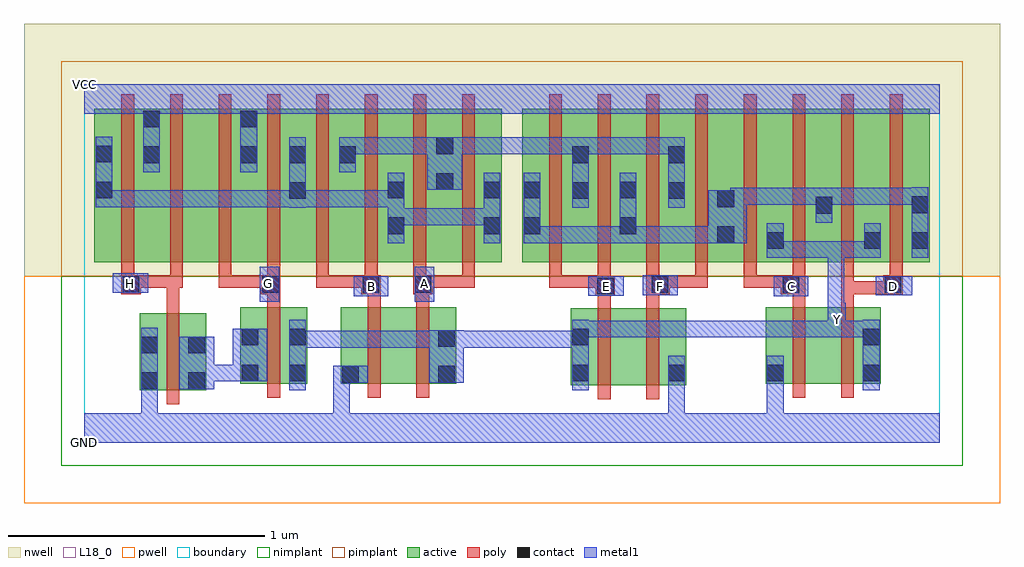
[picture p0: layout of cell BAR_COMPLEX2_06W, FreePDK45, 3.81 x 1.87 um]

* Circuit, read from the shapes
.subckt BAR_COMPLEX2_06W A B C D E F G GND H VCC Y
M1 n1 H GND VSUBS nfet w=0.3u l=0.05u
M2 Y G n1 VSUBS nfet w=0.3u l=0.05u
M3 n2 B GND VSUBS nfet w=0.3u l=0.05u
M4 Y A n2 VSUBS nfet w=0.3u l=0.05u
M5 n3 E Y VSUBS nfet w=0.3u l=0.05u
M6 GND F n3 VSUBS nfet w=0.3u l=0.05u
M7 n4 C GND VSUBS nfet w=0.3u l=0.05u
M8 Y D n4 VSUBS nfet w=0.3u l=0.05u
M9 VCC H n5 n6 pfet w=0.6u l=0.05u
M10 n7 H VCC n6 pfet w=0.6u l=0.05u
M11 VCC G n7 n6 pfet w=0.6u l=0.05u
M12 n5 G VCC n6 pfet w=0.6u l=0.05u
M13 n8 B n5 n6 pfet w=0.6u l=0.05u m=2
M14 n8 A n5 n6 pfet w=0.6u l=0.05u m=2
M15 n8 E n9 n6 pfet w=0.6u l=0.05u m=2
M16 n8 F n9 n6 pfet w=0.6u l=0.05u m=2
M17 Y C n9 n6 pfet w=0.6u l=0.05u m=2
M18 Y D n9 n6 pfet w=0.6u l=0.05u m=2
.ends

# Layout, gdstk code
import gdstk
lib = gdstk.Library(unit=1e-6, precision=1e-09)
def R(c, l, rs):  # rectangles x0, y0, x1, y1
    for r in rs: c.add(gdstk.rectangle(r[:2], r[2:], *l))
def A(c, l, x, y, w, h, nx, ny, dx, dy):  # array of equal rectangles
    R(c, l, [(x+i*dx, y+j*dy, x+i*dx+w, y+j*dy+h) for i in range(nx) for j in range(ny)])
active = (1, 0)
pwell = (2, 0)
nwell = (3, 0)
nimplant = (4, 0)
pimplant = (5, 0)
poly = (9, 0)
contact = (10, 0)
metal1 = (11, 0)
L18_0 = (18, 0)
boundary = (235, 0)

bar_complex2_06w = lib.new_cell('BAR_COMPLEX2_06W')
R(bar_complex2_06w, active, [(0.217,0.205,0.292,0.505), (0.217,0.205,0.477,0.505), (0.402,0.205,0.477,0.505), (1.9,0.225,2.125,0.525), (2.125,0.225,2.35,0.525), (0.61,0.23,0.87,0.53), (1.002,0.23,1.077,0.53), (1.002,0.23,1.227,0.53), (1.227,0.23,1.452,0.53), (1.377,0.23,1.452,0.53), (1.9,0.23,1.975,0.525), (2.275,0.23,2.35,0.525), (2.66,0.23,2.735,0.53), (2.66,0.23,2.885,0.53), (2.885,0.23,3.11,0.53), (3.035,0.23,3.11,0.53), (0.61,0.232,0.685,0.53), (0.795,0.232,0.87,0.53), (0.04,0.705,0.115,1.2), (0.04,0.705,0.3,1.305), (0.225,0.705,0.455,1.305), (0.455,0.705,0.68,1.305), (0.605,0.705,0.87,1.305), (0.795,0.705,1.065,1.305), (0.99,0.705,1.255,1.305), (1.18,0.705,1.445,1.305), (1.37,0.705,1.63,1.305), (1.555,0.705,1.63,1.07), (1.71,0.705,1.785,1.07), (1.71,0.705,1.975,1.305), (1.9,0.705,1.975,1.2), (1.9,0.705,2.16,1.305), (2.085,0.705,2.16,1.07), (2.085,0.705,2.35,1.305), (2.275,0.705,2.35,1.2), (2.275,0.705,2.542,1.305), (2.467,0.705,2.542,1.2), (2.467,0.705,2.735,1.305), (2.66,0.705,2.735,1.07), (2.66,0.705,2.925,1.305), (2.85,0.705,2.925,1.2), (2.85,0.705,3.115,1.305), (3.04,0.705,3.3,1.305), (3.04,0.705,3.115,1.07), (3.225,0.705,3.3,1.2), (0.225,0.707,0.3,1.305), (0.605,0.707,0.68,1.305), (0.795,0.707,0.87,1.2), (0.99,0.707,1.065,1.2), (1.18,0.707,1.255,1.07), (1.37,0.707,1.445,1.2)])
R(bar_complex2_06w, pwell, [(-0.235,-0.235,3.575,0.65)])
R(bar_complex2_06w, nwell, [(-0.235,0.65,3.575,1.635)])
R(bar_complex2_06w, nimplant, [(-0.09,-0.09,3.43,0.65)])
R(bar_complex2_06w, pimplant, [(-0.09,0.65,3.43,1.49)])
A(bar_complex2_06w, poly, 0.145, 0.605, 0.05, 0.095, 8, 1, 0.19, 0)
A(bar_complex2_06w, poly, 2.195, 0.605, 0.05, 0.095, 4, 1, 0.19, 0)
A(bar_complex2_06w, poly, 0.145, 0.65, 0.05, 0.71, 8, 1, 0.19, 0)
A(bar_complex2_06w, poly, 1.815, 0.65, 0.05, 0.71, 8, 1, 0.19, 0)
R(bar_complex2_06w, poly, [(0.322,0.15,0.372,0.582), (2.005,0.17,2.055,0.582), (2.195,0.17,2.245,0.582), (0.715,0.175,0.765,0.585), (1.107,0.175,1.157,0.585), (1.297,0.175,1.347,0.585), (2.765,0.175,2.815,0.585), (2.955,0.175,3.005,0.585), (0.322,0.532,0.372,0.655), (2.005,0.532,2.055,0.625), (2.195,0.532,2.245,0.63), (0.715,0.535,0.765,0.63), (1.107,0.535,1.157,0.63), (1.297,0.535,1.347,0.63), (2.765,0.535,2.815,0.63), (2.955,0.535,3.005,0.63), (1.997,0.575,2.072,0.65), (0.145,0.58,0.22,0.655), (0.69,0.58,0.765,0.655), (1.082,0.58,1.157,0.655), (1.285,0.58,1.36,0.655), (2.195,0.58,2.285,0.655), (2.72,0.58,2.815,0.655), (2.955,0.58,3.17,0.63), (2.955,0.58,3.005,0.63), (2.955,0.58,3.005,0.63), (2.955,0.58,3.005,0.63), (2.955,0.58,3.005,0.7), (3.12,0.58,3.195,0.655), (1.997,0.6,2.047,0.65), (1.997,0.6,2.047,0.655), (2.005,0.6,2.055,0.7), (0.17,0.605,0.372,0.655), (0.322,0.605,0.372,0.655), (0.322,0.605,0.372,0.655), (0.322,0.605,0.385,0.655), (0.525,0.605,0.74,0.655), (0.525,0.605,0.575,0.655), (0.525,0.605,0.575,0.655), (0.525,0.605,0.575,0.655), (0.905,0.605,0.955,0.655), (0.905,0.605,1.132,0.655), (1.082,0.605,1.132,0.655), (1.082,0.605,1.132,0.655), (1.31,0.605,1.525,0.655), (1.31,0.605,1.36,0.655), (1.31,0.605,1.36,0.655), (1.475,0.605,1.525,0.655), (1.815,0.605,1.865,0.7), (1.815,0.605,1.865,0.655), (1.815,0.605,2.047,0.655), (2.235,0.605,2.285,0.655), (2.235,0.605,2.285,0.655), (2.235,0.605,2.435,0.655), (2.385,0.605,2.435,0.655), (2.575,0.605,2.625,0.655), (2.575,0.605,2.77,0.655), (2.72,0.605,2.77,0.655), (2.72,0.605,2.77,0.655), (3.145,0.605,3.195,0.7)])
R(bar_complex2_06w, contact, [(0.222,0.21,0.287,0.275), (0.407,0.21,0.472,0.275), (1.007,0.235,1.072,0.3), (1.382,0.235,1.447,0.3), (0.615,0.24,0.68,0.305), (0.8,0.24,0.865,0.305), (1.905,0.24,1.97,0.305), (2.28,0.24,2.345,0.305), (2.665,0.24,2.73,0.305), (3.04,0.24,3.105,0.305), (0.222,0.35,0.287,0.415), (0.407,0.35,0.472,0.415), (1.382,0.375,1.447,0.44), (0.615,0.38,0.68,0.445), (0.8,0.38,0.865,0.445), (1.905,0.38,1.97,0.445), (3.04,0.38,3.105,0.445), (2.002,0.58,2.067,0.645), (0.15,0.585,0.215,0.65), (0.695,0.585,0.76,0.65), (1.087,0.585,1.152,0.65), (1.29,0.585,1.355,0.65), (2.215,0.585,2.28,0.65), (2.727,0.585,2.792,0.65), (3.125,0.585,3.19,0.65), (2.665,0.757,2.73,0.822), (3.045,0.757,3.11,0.822), (3.23,0.757,3.295,0.822), (2.472,0.78,2.537,0.845), (1.185,0.815,1.25,0.88), (1.56,0.815,1.625,0.88), (1.715,0.815,1.78,0.88), (2.09,0.815,2.155,0.88), (2.855,0.895,2.92,0.96), (3.23,0.897,3.295,0.962), (2.472,0.92,2.537,0.985), (0.8,0.952,0.865,1.017), (1.905,0.952,1.97,1.017), (2.28,0.952,2.345,1.017), (0.045,0.955,0.11,1.02), (1.185,0.955,1.25,1.02), (1.56,0.955,1.625,1.02), (1.715,0.955,1.78,1.02), (2.09,0.955,2.155,1.02), (1.375,0.987,1.44,1.052), (0.23,1.092,0.295,1.157), (0.61,1.092,0.675,1.157), (0.8,1.092,0.865,1.157), (0.995,1.092,1.06,1.157), (1.905,1.092,1.97,1.157), (2.28,1.092,2.345,1.157), (0.045,1.095,0.11,1.16), (1.375,1.127,1.44,1.192), (0.23,1.232,0.295,1.297), (0.61,1.232,0.675,1.297)])
R(bar_complex2_06w, metal1, [(0,0,3.34,0.115), (0.222,0.05,0.287,0.115), (0.222,0.05,0.287,0.115), (0.222,0.05,0.287,0.115), (0.222,0.05,0.287,0.115), (0.222,0.05,0.287,0.24), (0.972,0.05,1.037,0.3), (2.28,0.05,2.345,0.115), (2.28,0.05,2.345,0.115), (2.28,0.05,2.345,0.27), (2.665,0.05,2.73,0.115), (2.665,0.05,2.73,0.115), (2.665,0.05,2.73,0.27), (0.222,0.175,0.287,0.45), (0.8,0.205,0.865,0.48), (1.905,0.205,1.97,0.48), (2.28,0.205,2.345,0.27), (2.28,0.205,2.345,0.27), (2.28,0.205,2.345,0.34), (2.665,0.205,2.73,0.27), (2.665,0.205,2.73,0.27), (2.665,0.205,2.73,0.34), (3.04,0.205,3.105,0.48), (0.372,0.21,0.507,0.415), (0.972,0.235,1.037,0.3), (0.972,0.235,1.037,0.3), (0.972,0.235,1.037,0.3), (0.972,0.235,1.037,0.3), (0.972,0.235,1.107,0.3), (1.347,0.235,1.482,0.44), (0.442,0.24,0.507,0.305), (0.442,0.24,0.507,0.305), (0.442,0.24,0.645,0.305), (0.58,0.24,0.715,0.445), (0.8,0.372,0.865,0.437), (0.8,0.372,0.865,0.437), (0.8,0.372,1.042,0.437), (0.977,0.372,1.042,0.437), (0.977,0.372,1.042,0.437), (0.977,0.372,1.042,0.437), (0.977,0.372,1.267,0.437), (1.202,0.372,1.267,0.437), (1.202,0.372,1.267,0.437), (1.202,0.372,1.267,0.437), (1.202,0.372,1.412,0.437), (1.417,0.372,1.482,0.437), (1.417,0.372,1.482,0.437), (1.417,0.372,1.62,0.437), (1.555,0.372,1.62,0.437), (1.555,0.372,1.757,0.437), (1.692,0.372,1.757,0.437), (1.692,0.372,1.762,0.437), (1.697,0.372,1.762,0.437), (1.697,0.372,1.97,0.437), (1.905,0.412,2.032,0.477), (1.967,0.412,2.032,0.477), (1.967,0.412,2.107,0.477), (2.042,0.412,2.107,0.477), (2.042,0.412,2.207,0.477), (2.142,0.412,2.207,0.477), (2.142,0.412,2.335,0.477), (2.27,0.412,2.335,0.477), (2.27,0.412,2.45,0.477), (2.385,0.412,2.45,0.477), (2.385,0.412,2.587,0.477), (2.522,0.412,2.587,0.477), (2.522,0.412,2.587,0.477), (2.522,0.412,2.587,0.477), (2.522,0.412,2.73,0.477), (2.665,0.412,2.73,0.477), (2.665,0.412,2.73,0.477), (2.665,0.412,2.73,0.477), (2.665,0.412,2.967,0.477), (2.902,0.412,2.967,0.477), (2.902,0.412,2.967,0.477), (2.902,0.412,2.967,0.477), (2.902,0.412,2.967,0.477), (2.902,0.412,3.105,0.477), (2.902,0.412,2.972,0.547), (2.902,0.482,2.967,0.787), (0.685,0.55,0.762,0.687), (1.29,0.55,1.367,0.687), (1.052,0.572,1.187,0.65), (2.692,0.572,2.827,0.65), (1.967,0.575,2.107,0.65), (2.18,0.577,2.317,0.655), (3.09,0.577,3.232,0.65), (0.112,0.585,0.25,0.662), (2.665,0.722,2.73,0.787), (2.665,0.722,2.73,0.787), (2.665,0.722,2.73,0.857), (2.665,0.722,2.967,0.787), (2.902,0.722,2.967,0.787), (2.902,0.722,2.967,0.787), (2.902,0.722,2.967,0.787), (2.902,0.722,3.11,0.787), (3.045,0.722,3.11,0.857), (3.23,0.722,3.295,0.997), (1.185,0.78,1.25,1.055), (1.56,0.78,1.625,1.055), (1.715,0.78,1.78,0.845), (1.715,0.78,1.78,0.845), (1.715,0.78,1.78,1.055), (1.715,0.78,1.97,0.845), (1.905,0.78,1.97,0.845), (1.905,0.78,2.032,0.845), (1.967,0.78,2.032,0.845), (1.967,0.78,2.155,0.845), (2.09,0.78,2.155,1.055), (2.09,0.78,2.312,0.845), (2.247,0.78,2.312,0.845), (2.247,0.78,2.312,0.845), (2.247,0.78,2.312,0.845), (2.247,0.78,2.45,0.845), (2.385,0.78,2.45,0.845), (2.385,0.78,2.502,0.845), (2.437,0.78,2.587,0.985), (1.185,0.85,1.25,0.915), (1.185,0.85,1.25,0.915), (1.185,0.85,1.482,0.915), (1.417,0.85,1.482,0.915), (1.417,0.85,1.482,0.915), (1.417,0.85,1.482,0.915), (1.417,0.85,1.625,0.915), (2.855,0.86,2.92,0.995), (0.8,0.917,0.865,1.192), (1.905,0.917,1.97,1.192), (2.28,0.917,2.345,1.192), (0.045,0.92,0.11,0.985), (0.045,0.92,0.11,0.985), (0.045,0.92,0.11,1.195), (0.045,0.92,0.247,0.985), (0.182,0.92,0.247,0.985), (0.182,0.92,0.25,0.985), (0.185,0.92,0.25,0.985), (0.185,0.92,0.387,0.985), (0.322,0.92,0.387,0.985), (0.322,0.92,0.387,0.985), (0.322,0.92,0.387,0.985), (0.322,0.92,0.692,0.985), (0.627,0.92,0.692,0.985), (0.627,0.92,0.692,0.985), (0.627,0.92,0.692,0.985), (0.627,0.92,0.865,0.985), (0.8,0.92,0.905,0.985), (0.84,0.92,0.905,0.985), (0.84,0.92,1.112,0.985), (1.047,0.92,1.112,0.985), (1.047,0.92,1.112,0.985), (1.047,0.92,1.112,0.985), (1.047,0.92,1.25,0.985), (2.522,0.92,2.587,0.995), (2.522,0.93,2.587,0.995), (2.522,0.93,2.587,0.995), (2.522,0.93,2.587,0.995), (2.522,0.93,2.725,0.995), (2.66,0.93,2.725,0.995), (2.66,0.93,2.725,0.995), (2.66,0.93,2.725,0.995), (2.66,0.93,2.92,0.995), (2.855,0.93,3.017,0.995), (2.952,0.93,3.017,0.995), (2.952,0.93,3.157,0.995), (3.092,0.93,3.157,0.995), (3.092,0.93,3.295,0.995), (3.23,0.93,3.295,0.995), (3.23,0.93,3.295,0.995), (1.34,0.987,1.475,1.192), (0.23,1.057,0.295,1.332), (0.61,1.057,0.675,1.332), (0.995,1.057,1.06,1.192), (0.995,1.127,1.06,1.192), (0.995,1.127,1.06,1.192), (0.995,1.127,1.25,1.192), (1.185,1.127,1.25,1.192), (1.185,1.127,1.25,1.192), (1.185,1.127,1.25,1.192), (1.185,1.127,1.405,1.192), (1.41,1.127,1.475,1.192), (1.41,1.127,1.475,1.192), (1.41,1.127,1.62,1.192), (1.555,1.127,1.62,1.192), (1.555,1.127,1.757,1.192), (1.692,1.127,1.757,1.192), (1.692,1.127,1.895,1.192), (1.83,1.127,1.895,1.192), (1.83,1.127,1.97,1.192), (1.905,1.127,2.032,1.192), (1.967,1.127,2.032,1.192), (1.967,1.127,2.107,1.192), (2.042,1.127,2.107,1.192), (2.042,1.127,2.185,1.192), (2.12,1.127,2.185,1.192), (2.12,1.127,2.345,1.192), (0.23,1.267,0.295,1.35), (0.61,1.267,0.675,1.35), (0,1.285,3.34,1.4)])
R(bar_complex2_06w, L18_0, [(0,0,3.34,0.115), (0.222,0.05,0.287,0.115), (0.222,0.05,0.287,0.115), (0.222,0.05,0.287,0.115), (0.222,0.05,0.287,0.115), (0.222,0.05,0.287,0.24), (0.972,0.05,1.037,0.3), (2.28,0.05,2.345,0.115), (2.28,0.05,2.345,0.115), (2.28,0.05,2.345,0.27), (2.665,0.05,2.73,0.115), (2.665,0.05,2.73,0.115), (2.665,0.05,2.73,0.27), (0.222,0.175,0.287,0.45), (0.8,0.205,0.865,0.48), (1.905,0.205,1.97,0.48), (2.28,0.205,2.345,0.27), (2.28,0.205,2.345,0.27), (2.28,0.205,2.345,0.34), (2.665,0.205,2.73,0.27), (2.665,0.205,2.73,0.27), (2.665,0.205,2.73,0.34), (3.04,0.205,3.105,0.48), (0.972,0.235,1.037,0.3), (0.972,0.235,1.037,0.3), (0.972,0.235,1.037,0.3), (0.972,0.235,1.037,0.3), (0.972,0.235,1.107,0.3), (1.347,0.235,1.482,0.44), (0.8,0.372,0.865,0.437), (0.8,0.372,0.865,0.437), (0.8,0.372,1.042,0.437), (0.977,0.372,1.042,0.437), (0.977,0.372,1.042,0.437), (0.977,0.372,1.042,0.437), (0.977,0.372,1.267,0.437), (1.202,0.372,1.267,0.437), (1.202,0.372,1.267,0.437), (1.202,0.372,1.267,0.437), (1.202,0.372,1.412,0.437), (1.417,0.372,1.482,0.437), (1.417,0.372,1.482,0.437), (1.417,0.372,1.62,0.437), (1.555,0.372,1.62,0.437), (1.555,0.372,1.757,0.437), (1.692,0.372,1.757,0.437), (1.692,0.372,1.762,0.437), (1.697,0.372,1.762,0.437), (1.697,0.372,1.97,0.437), (1.905,0.412,2.032,0.477), (1.967,0.412,2.032,0.477), (1.967,0.412,2.107,0.477), (2.042,0.412,2.107,0.477), (2.042,0.412,2.207,0.477), (2.142,0.412,2.207,0.477), (2.142,0.412,2.335,0.477), (2.27,0.412,2.335,0.477), (2.27,0.412,2.45,0.477), (2.385,0.412,2.45,0.477), (2.385,0.412,2.587,0.477), (2.522,0.412,2.587,0.477), (2.522,0.412,2.587,0.477), (2.522,0.412,2.587,0.477), (2.522,0.412,2.73,0.477), (2.665,0.412,2.73,0.477), (2.665,0.412,2.73,0.477), (2.665,0.412,2.73,0.477), (2.665,0.412,2.967,0.477), (2.902,0.412,2.967,0.477), (2.902,0.412,2.967,0.477), (2.902,0.412,2.967,0.477), (2.902,0.412,2.967,0.477), (2.902,0.412,3.105,0.477), (2.902,0.412,2.972,0.547), (2.907,0.447,2.972,0.512), (2.902,0.482,2.967,0.787), (0.685,0.55,0.762,0.687), (1.29,0.55,1.367,0.687), (1.052,0.572,1.187,0.65), (2.692,0.572,2.827,0.65), (1.967,0.575,2.107,0.65), (1.087,0.577,1.152,0.642), (2.007,0.577,2.072,0.642), (2.18,0.577,2.317,0.655), (2.217,0.577,2.282,0.642), (2.727,0.577,2.792,0.642), (3.09,0.577,3.232,0.65), (3.127,0.577,3.192,0.642), (0.112,0.585,0.25,0.662), (0.147,0.587,0.212,0.652), (0.687,0.587,0.752,0.652), (1.297,0.587,1.362,0.652), (2.665,0.722,2.73,0.787), (2.665,0.722,2.73,0.787), (2.665,0.722,2.73,0.857), (2.665,0.722,2.967,0.787), (2.902,0.722,2.967,0.787), (2.902,0.722,2.967,0.787), (2.902,0.722,2.967,0.787), (2.902,0.722,3.11,0.787), (3.045,0.722,3.11,0.857), (0.23,1.057,0.295,1.332), (0.61,1.057,0.675,1.332), (0.23,1.267,0.295,1.35), (0.61,1.267,0.675,1.35), (0,1.285,3.34,1.4)])
R(bar_complex2_06w, boundary, [(0,0,3.34,1.4)])
bar_complex2_06w.add(gdstk.Label('A', (1.33,0.62), layer=11, texttype=0))
bar_complex2_06w.add(gdstk.Label('B', (1.12,0.61), layer=11, texttype=0))
bar_complex2_06w.add(gdstk.Label('C', (2.76,0.61), layer=11, texttype=0))
bar_complex2_06w.add(gdstk.Label('D', (3.16,0.61), layer=11, texttype=0))
bar_complex2_06w.add(gdstk.Label('E', (2.04,0.61), layer=11, texttype=0))
bar_complex2_06w.add(gdstk.Label('F', (2.25,0.61), layer=11, texttype=0))
bar_complex2_06w.add(gdstk.Label('G', (0.72,0.62), layer=11, texttype=0))
bar_complex2_06w.add(gdstk.Label('H', (0.18,0.62), layer=11, texttype=0))
bar_complex2_06w.add(gdstk.Label('Y', (2.94,0.48), layer=11, texttype=0))
bar_complex2_06w.add(gdstk.Label('VCC', (0,1.4), layer=11, texttype=0))
bar_complex2_06w.add(gdstk.Label('GND', (0,0), layer=11, texttype=0))

lib.write_gds('BAR_COMPLEX2_06W.gds')
